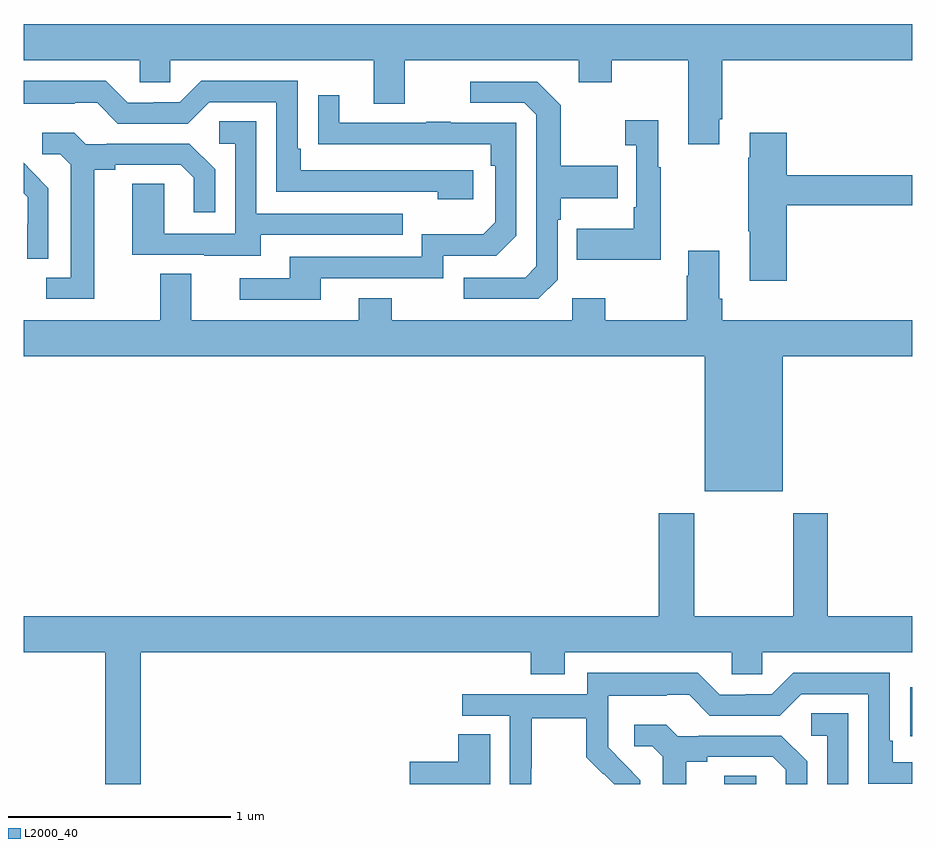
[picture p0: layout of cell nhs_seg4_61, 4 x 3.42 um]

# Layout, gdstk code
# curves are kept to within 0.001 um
import gdstk
lib = gdstk.Library(unit=1e-6, precision=1e-09)
def R(c, l, rs):  # rectangles x0, y0, x1, y1
    for r in rs: c.add(gdstk.rectangle(r[:2], r[2:], *l))
def P(c, l, *ps):  # polygons
    for p in ps: c.add(gdstk.Polygon(p, *l))
L2000_40 = (2000, 40)

nhs_seg4_61 = lib.new_cell('nhs_seg4_61')
R(nhs_seg4_61, L2000_40, [(116.153,790.9,116.298,790.937), (116.989,791.116,117,791.335)])
P(nhs_seg4_61, L2000_40, [(116.131,793.891),(116.144,793.891),(116.144,794.156),(117,794.156),(117,794.32),(113,794.32),(113,794.156),(113.523,794.156),(113.523,794.058),(113.661,794.058),(113.661,794.156),(114.575,794.156),(114.575,793.962),(114.715,793.962),(114.715,794.156),(115.499,794.156),(115.499,794.057),(115.647,794.057),(115.647,794.156),(115.991,794.156),(115.991,793.779),(116.131,793.779)],
  [(115.024,793.662),(114.247,793.662),(114.247,793.759),(114.234,793.759),(114.234,794.064),(113.799,794.064),(113.703,793.968),(113.585,793.968),(113.585,793.965),(113.469,793.965),(113.369,794.065),(113,794.065),(113,793.961),(113.231,793.961),(113.231,793.965),(113.331,793.965),(113.424,793.872),(113.739,793.872),(113.835,793.968),(114.138,793.968),(114.138,793.566),(114.863,793.566),(114.863,793.532),(115.024,793.532)],
  [(115.404,793.17),(115.404,793.439),(115.417,793.439),(115.417,793.535),(115.673,793.535),(115.673,793.683),(115.417,793.683),(115.417,793.955),(115.311,794.061),(115.011,794.061),(115.011,793.965),(115.254,793.965),(115.308,793.911),(115.308,793.23),(115.257,793.179),(114.981,793.179),(114.981,793.083),(115.317,793.083)],
  [(114.337,793.176),(114.888,793.176),(114.888,793.278),(115.128,793.278),(115.218,793.368),(115.218,793.875),(114.923,793.875),(114.923,793.88),(114.811,793.88),(114.811,793.875),(114.421,793.875),(114.421,793.999),(114.325,793.999),(114.325,793.78),(115.102,793.779),(115.102,793.682),(115.122,793.682),(115.122,793.428),(115.069,793.375),(114.792,793.375),(114.792,793.272),(114.197,793.272),(114.197,793.176),(113.973,793.176),(113.973,793.08),(114.337,793.08)],
  [(115.867,793.675),(115.855,793.675),(115.855,793.888),(115.707,793.888),(115.707,793.775),(115.758,793.775),(115.758,793.495),(115.746,793.495),(115.746,793.399),(115.489,793.399),(115.489,793.259),(115.867,793.259)],
  [(114.067,793.371),(114.707,793.371),(114.707,793.467),(114.048,793.467),(114.048,793.883),(113.88,793.883),(113.88,793.782),(113.952,793.782),(113.952,793.377),(113.634,793.377),(113.634,793.601),(113.489,793.601),(113.489,793.281),(113.813,793.281),(113.813,793.277),(114.067,793.277)],
  [(116.435,793.504),(117,793.504),(117,793.64),(116.435,793.64),(116.435,793.831),(116.267,793.831),(116.267,793.718),(116.26,793.718),(116.26,793.387),(116.267,793.387),(116.267,793.164),(116.435,793.164)],
  [(113.317,793.664),(113.413,793.664),(113.413,793.686),(113.708,793.686),(113.765,793.629),(113.765,793.473),(113.862,793.473),(113.862,793.666),(113.746,793.782),(113.374,793.782),(113.374,793.779),(113.28,793.779),(113.228,793.831),(113.085,793.831),(113.085,793.734),(113.166,793.734),(113.213,793.687),(113.213,793.179),(113.103,793.179),(113.103,793.083),(113.317,793.083)],
  [(113.112,793.582),(113.039,793.655),(113.04,793.656),(113,793.696),(113,793.559),(113.018,793.541),(113.018,793.418),(113.016,793.418),(113.016,793.264),(113.112,793.264)],
  [(116.416,792.824),(117,792.824),(117,792.988),(116.144,792.988),(116.144,793.084),(116.131,793.084),(116.131,793.3),(115.991,793.3),(115.991,793.187),(115.984,793.187),(115.984,792.988),(115.617,792.988),(115.617,793.087),(115.47,793.087),(115.47,792.988),(114.657,792.988),(114.657,793.087),(114.509,793.087),(114.509,792.988),(113.755,792.988),(113.755,793.196),(113.615,793.196),(113.615,792.988),(113,792.988),(113,792.824),(116.066,792.824),(116.066,792.218),(116.416,792.218)],
  [(113.528,791.492),(115.283,791.492),(115.283,791.393),(115.435,791.393),(115.435,791.492),(116.187,791.492),(116.187,791.394),(116.325,791.394),(116.325,791.492),(117,791.492),(117,791.656),(116.619,791.656),(116.619,792.118),(116.464,792.118),(116.464,791.656),(116.019,791.656),(116.019,792.118),(115.859,792.118),(115.859,791.656),(113,791.656),(113,791.492),(113.368,791.492),(113.368,790.9),(113.528,790.9)],
  [(115.284,790.972),(115.287,790.972),(115.287,791.196),(115.531,791.196),(115.531,791.021),(115.608,790.944),(115.611,790.947),(115.659,790.9),(115.776,790.9),(115.776,790.918),(115.63,791.066),(115.63,791.163),(115.632,791.163),(115.632,791.297),(115.895,791.297),(115.895,791.301),(115.995,791.301),(116.088,791.208),(116.403,791.208),(116.499,791.304),(116.802,791.304),(116.802,790.902),(117,790.902),(117,790.998),(116.911,790.998),(116.911,791.095),(116.898,791.095),(116.898,791.4),(116.463,791.4),(116.367,791.304),(116.249,791.304),(116.249,791.301),(116.133,791.301),(116.033,791.401),(115.536,791.401),(115.536,791.304),(114.975,791.304),(114.975,791.208),(115.188,791.208),(115.188,790.9),(115.284,790.9)],
  [(116.712,791.219),(116.544,791.219),(116.544,791.118),(116.616,791.118),(116.616,790.9),(116.712,790.9)],
  [(115.981,791),(116.077,791),(116.077,791.022),(116.372,791.022),(116.429,790.965),(116.429,790.9),(116.526,790.9),(116.526,791.002),(116.41,791.118),(116.038,791.118),(116.038,791.115),(115.944,791.115),(115.892,791.167),(115.749,791.167),(115.749,791.07),(115.83,791.07),(115.877,791.023),(115.877,790.9),(115.981,790.9)],
  [(115.099,791.123),(114.956,791.123),(114.956,791),(114.738,791),(114.738,790.9),(115.099,790.9)])

lib.write_gds('nhs_seg4_61.gds')
